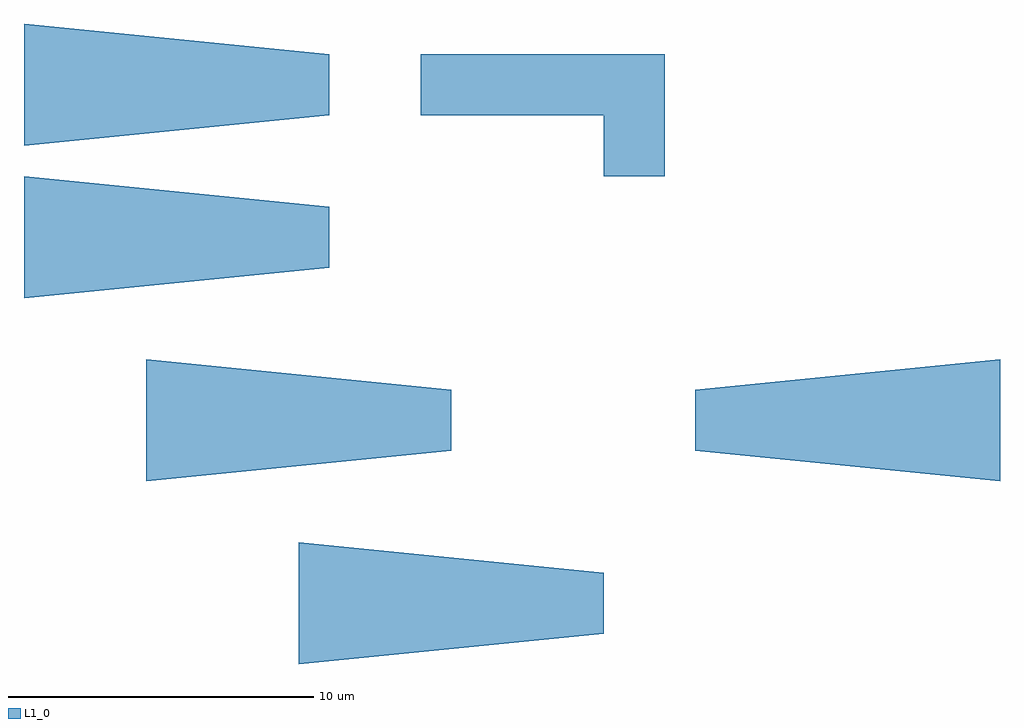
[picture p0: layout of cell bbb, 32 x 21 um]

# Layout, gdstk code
from math import pi, radians
import gdstk
lib = gdstk.Library(unit=1e-6, precision=1e-09)
def P(c, l, *ps):  # polygons
    for p in ps: c.add(gdstk.Polygon(p, *l))
L1_0 = (1, 0)

ccc = lib.new_cell('ccc')
P(ccc, L1_0, [(10,1),(10,3),(0,4),(0,0)])

bbb = lib.new_cell('bbb')
bbb.add(gdstk.FlexPath([(14,19),(21,19),(21,16)], 2, ends="flush", simple_path=True, layer=1, datatype=0))  # L1_0
bbb.add(gdstk.Reference(ccc, (10,0)))
bbb.add(gdstk.Reference(ccc, (1,21), x_reflection=True))
bbb.add(gdstk.Reference(ccc, (1,12)))
bbb.add(gdstk.Reference(ccc, (33,6), rotation=pi, x_reflection=True))
bbb.add(gdstk.Reference(ccc, (5,6)))

lib.write_gds('bbb.gds')
